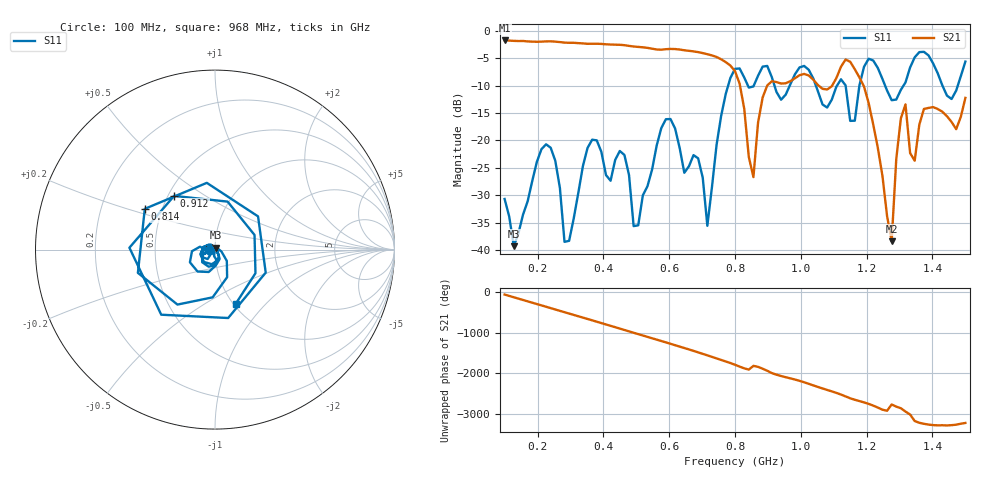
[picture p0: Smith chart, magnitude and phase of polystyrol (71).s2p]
! NanoVNA-App
! Date: 2025-09-26 09:42:26
! Start: 100MHz Stop: 1,5GHz Points: 101
! S-Parameter data: F S11 S21 S12 S22
# Hz S RI R 50
!  Frequency  S11_Real  S11_Imag  S21_Real  S21_Imag  S12_Real  S12_Imag  S22_Real  S22_Imag
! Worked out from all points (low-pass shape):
!   101 points, 100 MHz to 1.5 GHz, reference 50 ohm
!   highest |S21| = -1.79 dB at 100 MHz (marker M1); lowest = -38.4 dB at 1.276 GHz (marker M2)
!   |S21| within 3 dB of the highest: start of sweep to 743.6 MHz
!   lowest |S11| = -39.3 dB at 128 MHz (marker M3), VSWR 1.02, Z = 50.3 + j1.06 ohm
!   |S11| at or under -10 dB: start of sweep to 779.3 MHz; 1.046 GHz to 1.11 GHz (64.54 MHz wide, 5.99 % of centre); 1.256 GHz to 1.312 GHz (56.17 MHz wide, 4.37 % of centre)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
!   S12 and S22 are empty: the file has one direction only
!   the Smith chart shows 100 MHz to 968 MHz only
!   S11 on the Smith chart (normalised r, x): 100 MHz: 0.94, -0.01; 814 MHz: 0.40, +0.23; 912 MHz: 0.54, +0.37; 968 MHz: 1.02, -0.69
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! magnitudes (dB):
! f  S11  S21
! 100 MHz  -30.7  -1.8
! 128 MHz  -39.3  -1.9
! 212 MHz  -21.6  -2.0
! 282 MHz  -38.5  -2.2
! 338 MHz  -24.6  -2.3
! 464 MHz  -22.6  -2.6
! 506 MHz  -35.5  -3.0
! 576 MHz  -17.8  -3.5
! 688 MHz  -23.3  -3.9
! 716 MHz  -35.6  -4.3
! 800 MHz  -7.0  -7.4
! 814 MHz  -6.9  -9.6
! 856 MHz  -10.2  -26.7
! 912 MHz  -8.5  -9.2
! 968 MHz  -9.8  -9.2
! 1.038 GHz  -8.7  -8.9
! 1.164 GHz  -16.4  -7.0
! 1.192 GHz  -6.6  -10.2
! 1.276 GHz  -12.7  -38.4
! 1.318 GHz  -9.4  -13.4
! 1.346 GHz  -4.9  -23.7
! 1.5 GHz  -5.6  -12.2
